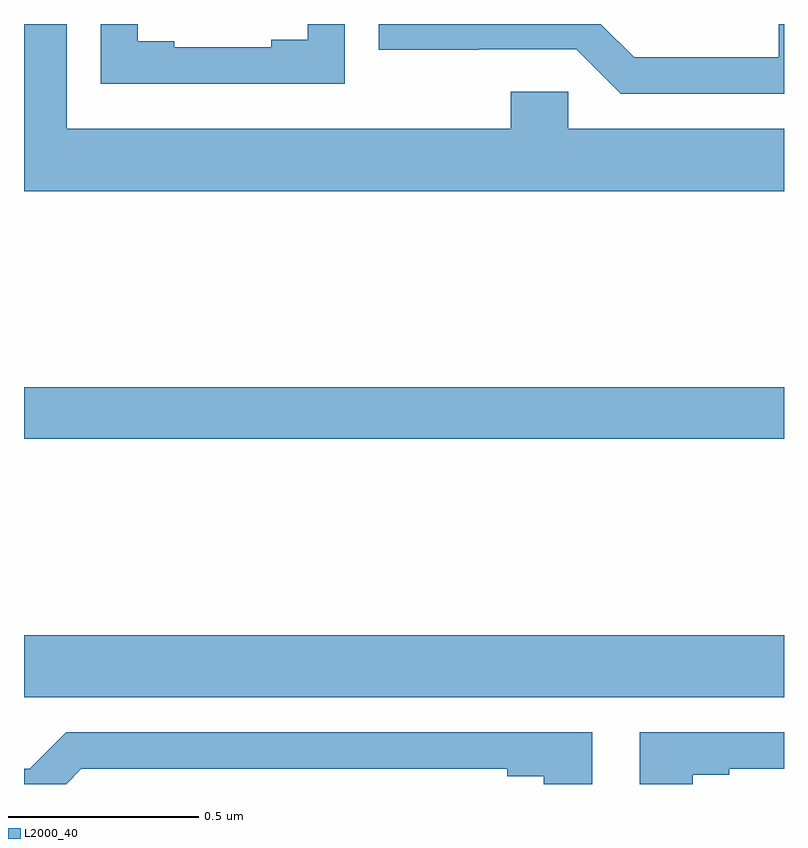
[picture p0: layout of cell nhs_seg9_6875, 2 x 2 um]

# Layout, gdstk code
import gdstk
lib = gdstk.Library(unit=1e-6, precision=1e-09)
def R(c, l, rs):  # rectangles x0, y0, x1, y1
    for r in rs: c.add(gdstk.rectangle(r[:2], r[2:], *l))
def P(c, l, *ps):  # polygons
    for p in ps: c.add(gdstk.Polygon(p, *l))
L2000_40 = (2000, 40)

nhs_seg9_6875 = lib.new_cell('nhs_seg9_6875')
R(nhs_seg9_6875, L2000_40, [(197,1221.728,199,1221.892), (197,1222.408,199,1222.544)])
P(nhs_seg9_6875, L2000_40, [(199,1223.224),(198.432,1223.224),(198.432,1223.322),(198.281,1223.322),(198.281,1223.224),(197.113,1223.224),(197.113,1223.5),(197,1223.5),(197,1223.06),(199,1223.06)],
  [(199,1223.5),(198.986,1223.5),(198.986,1223.412),(198.606,1223.412),(198.518,1223.5),(197.934,1223.5),(197.934,1223.432),(198.197,1223.432),(198.197,1223.433),(198.453,1223.433),(198.57,1223.316),(199,1223.316)],
  [(197.844,1223.5),(197.747,1223.5),(197.747,1223.459),(197.651,1223.459),(197.651,1223.439),(197.395,1223.439),(197.395,1223.454),(197.299,1223.454),(197.299,1223.5),(197.202,1223.5),(197.202,1223.343),(197.844,1223.343)],
  [(197.151,1221.54),(198.272,1221.54),(198.272,1221.52),(198.368,1221.52),(198.368,1221.5),(198.496,1221.5),(198.496,1221.636),(197.111,1221.636),(197.015,1221.54),(197,1221.54),(197,1221.5),(197.111,1221.5)],
  [(198.76,1221.525),(198.856,1221.525),(198.856,1221.54),(199,1221.54),(199,1221.636),(198.62,1221.636),(198.62,1221.5),(198.76,1221.5)])

lib.write_gds('nhs_seg9_6875.gds')
